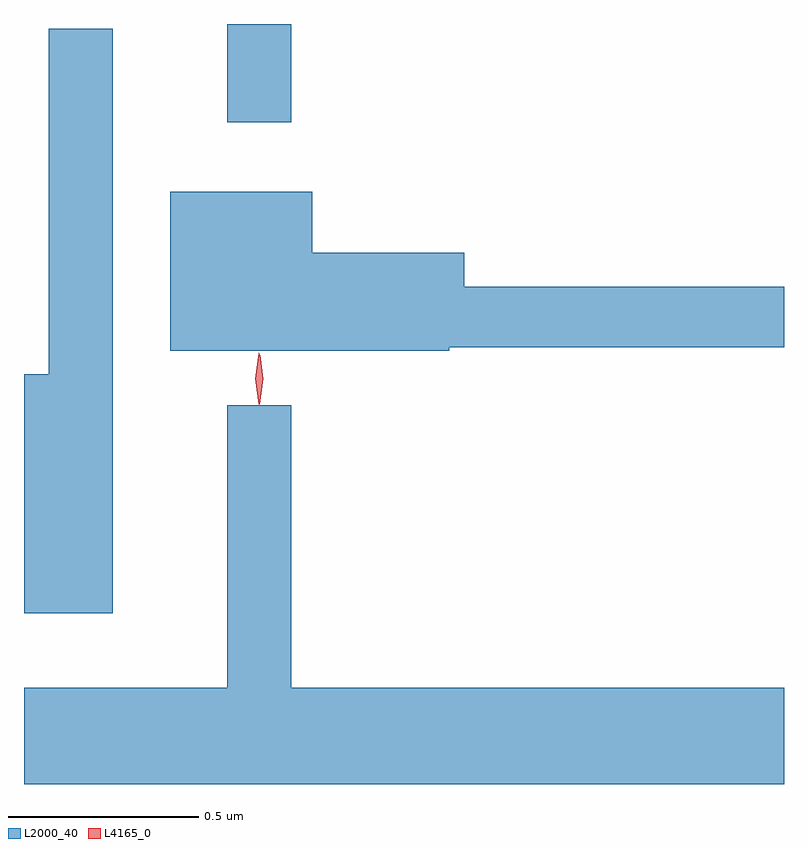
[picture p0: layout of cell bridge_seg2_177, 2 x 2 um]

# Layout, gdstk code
import gdstk
lib = gdstk.Library(unit=1e-6, precision=1e-09)
def R(c, l, rs):  # rectangles x0, y0, x1, y1
    for r in rs: c.add(gdstk.rectangle(r[:2], r[2:], *l))
def P(c, l, *ps):  # polygons
    for p in ps: c.add(gdstk.Polygon(p, *l))
L2000_40 = (2000, 40)
L4165_0 = (4165, 0)

bridge_seg2_177 = lib.new_cell('bridge_seg2_177')
R(bridge_seg2_177, L2000_40, [(812.451,1005.673,812.619,1005.931)])
P(bridge_seg2_177, L2000_40, [(812.149,1005.918),(811.981,1005.918),(811.981,1005.009),(811.916,1005.009),(811.916,1004.381),(812.149,1004.381)],
  [(813.035,1005.081),(813.916,1005.081),(813.916,1005.239),(813.074,1005.239),(813.074,1005.329),(812.674,1005.329),(812.674,1005.489),(812.301,1005.489),(812.301,1005.071),(813.035,1005.071)],
  [(813.916,1004.184),(812.619,1004.184),(812.619,1004.928),(812.451,1004.928),(812.451,1004.184),(811.916,1004.184),(811.916,1003.931),(813.916,1003.931)])
P(bridge_seg2_177, L4165_0, [(812.535,1004.934),(812.535,1004.934),(812.526,1004.997),(812.537,1005.059),(812.537,1005.06),(812.538,1005.059),(812.546,1004.997),(812.536,1004.934)],
  [(812.534,1004.931),(812.525,1004.998),(812.534,1005.065),(812.534,1005.066),(812.535,1005.065),(812.545,1004.998),(812.536,1004.931),(812.535,1004.931)])

lib.write_gds('bridge_seg2_177.gds')
